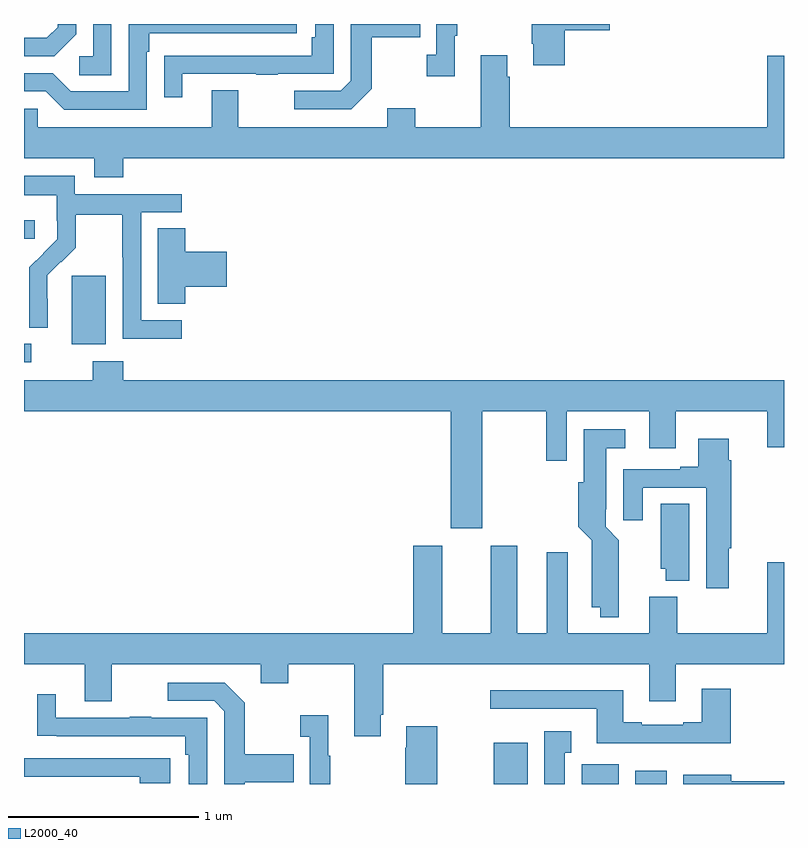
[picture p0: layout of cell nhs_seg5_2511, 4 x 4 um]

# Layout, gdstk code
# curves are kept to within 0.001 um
import gdstk
lib = gdstk.Library(unit=1e-6, precision=1e-09)
def R(c, l, rs):  # rectangles x0, y0, x1, y1
    for r in rs: c.add(gdstk.rectangle(r[:2], r[2:], *l))
def P(c, l, *ps):  # polygons
    for p in ps: c.add(gdstk.Polygon(p, *l))
L2000_40 = (2000, 40)

nhs_seg5_2511 = lib.new_cell('nhs_seg5_2511')
R(nhs_seg5_2511, L2000_40, [(259.472,854.799,259.651,855.016), (259.935,854.799,260.131,854.904), (260.216,854.799,260.383,854.869), (257,857.019,257.038,857.115), (257.252,857.114,257.431,857.475), (257,857.67,257.056,857.767)])
P(nhs_seg5_2511, L2000_40, [(257.274,858.746),(257.274,858.799),(257.177,858.799),(257.177,858.783),(257.12,858.726),(257,858.726),(257,858.63),(257.158,858.63)],
  [(257.46,858.799),(257.364,858.799),(257.364,858.63),(257.291,858.63),(257.291,858.529),(257.46,858.529)],
  [(257.646,858.653),(257.659,858.653),(257.659,858.75),(258.436,858.75),(258.436,858.799),(257.55,858.799),(257.55,858.444),(257.247,858.444),(257.151,858.54),(257,858.54),(257,858.444),(257.115,858.444),(257.211,858.348),(257.646,858.348)],
  [(258.829,858.457),(258.829,858.73),(259.085,858.73),(259.085,858.799),(258.72,858.799),(258.72,858.501),(258.666,858.447),(258.423,858.447),(258.423,858.351),(258.723,858.351)],
  [(259.267,858.737),(259.279,858.737),(259.279,858.799),(259.17,858.799),(259.17,858.638),(259.119,858.638),(259.119,858.525),(259.267,858.525)],
  [(259.847,858.767),(260.083,858.767),(260.083,858.799),(259.672,858.799),(259.672,858.694),(259.679,858.694),(259.679,858.582),(259.847,858.582)],
  [(257.833,858.537),(258.223,858.537),(258.223,858.532),(258.335,858.532),(258.335,858.537),(258.63,858.537),(258.63,858.799),(258.534,858.799),(258.534,858.73),(258.514,858.73),(258.514,858.633),(257.839,858.633),(257.839,858.632),(257.737,858.632),(257.737,858.414),(257.833,858.414)],
  [(257.522,858.092),(261,858.092),(261,858.631),(260.912,858.631),(260.912,858.256),(259.556,858.256),(259.556,858.521),(259.543,858.521),(259.543,858.634),(259.403,858.634),(259.403,858.256),(259.059,858.256),(259.059,858.355),(258.911,858.355),(258.911,858.256),(258.127,858.256),(258.127,858.451),(257.987,858.451),(257.987,858.256),(257.073,858.256),(257.073,858.354),(257,858.354),(257,858.092),(257.369,858.092),(257.369,857.993),(257.522,857.993)],
  [(257.83,857.241),(257.616,857.241),(257.616,857.808),(257.83,857.808),(257.83,857.904),(257.268,857.904),(257.268,858.001),(257,858.001),(257,857.897),(257.172,857.897),(257.172,857.763),(257.174,857.763),(257.174,857.666),(257.028,857.518),(257.028,857.2),(257.124,857.2),(257.123,857.477),(257.193,857.547),(257.196,857.544),(257.273,857.621),(257.273,857.796),(257.517,857.796),(257.517,857.572),(257.52,857.572),(257.52,857.143),(257.83,857.143)],
  [(257.849,857.417),(258.067,857.417),(258.067,857.6),(257.849,857.6),(257.849,857.723),(257.705,857.723),(257.705,857.326),(257.849,857.326)],
  [(259.411,856.76),(259.749,856.76),(259.749,856.5),(259.857,856.5),(259.857,856.76),(260.291,856.76),(260.291,856.566),(260.431,856.566),(260.431,856.76),(260.912,856.76),(260.912,856.572),(261,856.572),(261,856.924),(257.522,856.924),(257.522,857.023),(257.362,857.023),(257.362,856.924),(257,856.924),(257,856.76),(259.247,856.76),(259.247,856.146),(259.411,856.146)],
  [(260.13,855.98),(260.131,856.082),(260.061,856.152),(260.061,856.246),(260.065,856.246),(260.065,856.565),(260.164,856.565),(260.164,856.666),(259.946,856.666),(259.946,856.386),(259.916,856.386),(259.916,856.154),(259.988,856.082),(259.988,855.728),(260.033,855.728),(260.033,855.677),(260.13,855.677)],
  [(260.71,856.04),(260.723,856.04),(260.723,856.502),(260.71,856.502),(260.71,856.615),(260.549,856.615),(260.549,856.468),(260.453,856.468),(260.453,856.455),(260.153,856.455),(260.153,856.188),(260.257,856.188),(260.257,856.359),(260.591,856.359),(260.591,855.828),(260.71,855.828)],
  [(260.5,856.274),(260.351,856.274),(260.351,855.933),(260.378,855.933),(260.378,855.869),(260.5,855.869)],
  [(258.877,855.163),(258.89,855.163),(258.89,855.428),(260.291,855.428),(260.291,855.234),(260.431,855.234),(260.431,855.428),(261,855.428),(261,855.967),(260.912,855.967),(260.912,855.592),(260.439,855.592),(260.439,855.784),(260.291,855.784),(260.291,855.592),(259.861,855.592),(259.861,856.018),(259.751,856.018),(259.751,855.592),(259.597,855.592),(259.597,856.054),(259.457,856.054),(259.457,855.592),(259.201,855.592),(259.201,856.054),(259.049,856.054),(259.049,855.592),(257,855.592),(257,855.428),(257.321,855.428),(257.321,855.234),(257.461,855.234),(257.461,855.428),(258.245,855.428),(258.245,855.329),(258.392,855.329),(258.392,855.428),(258.737,855.428),(258.737,855.051),(258.877,855.051)],
  [(258.163,854.807),(258.419,854.807),(258.419,854.955),(258.163,854.955),(258.163,855.227),(258.057,855.333),(257.757,855.333),(257.757,855.237),(258,855.237),(258.054,855.183),(258.054,854.799),(258.163,854.799)],
  [(260.72,855.301),(260.567,855.301),(260.567,855.124),(260.471,855.124),(260.471,855.111),(260.251,855.111),(260.251,855.124),(260.155,855.124),(260.155,855.292),(259.455,855.292),(259.455,855.195),(260.015,855.195),(260.015,855.014),(260.72,855.014)],
  [(257.964,855.147),(257.669,855.147),(257.669,855.152),(257.557,855.152),(257.557,855.147),(257.167,855.147),(257.167,855.271),(257.071,855.271),(257.071,855.052),(257.173,855.052),(257.173,855.051),(257.848,855.051),(257.848,854.954),(257.868,854.954),(257.868,854.799),(257.964,854.799)],
  [(258.613,854.947),(258.601,854.947),(258.601,855.16),(258.453,855.16),(258.453,855.047),(258.504,855.047),(258.504,854.799),(258.613,854.799)],
  [(259.176,855.103),(259.013,855.103),(259.013,854.99),(259.006,854.99),(259.006,854.799),(259.176,854.799)],
  [(259.846,854.963),(259.879,854.963),(259.879,855.076),(259.739,855.076),(259.739,854.799),(259.846,854.799)],
  [(257.77,854.934),(257,854.934),(257,854.838),(257.609,854.838),(257.609,854.804),(257.77,854.804)],
  [(261,854.813),(260.722,854.813),(260.722,854.848),(260.471,854.848),(260.471,854.799),(261,854.799)])

lib.write_gds('nhs_seg5_2511.gds')
